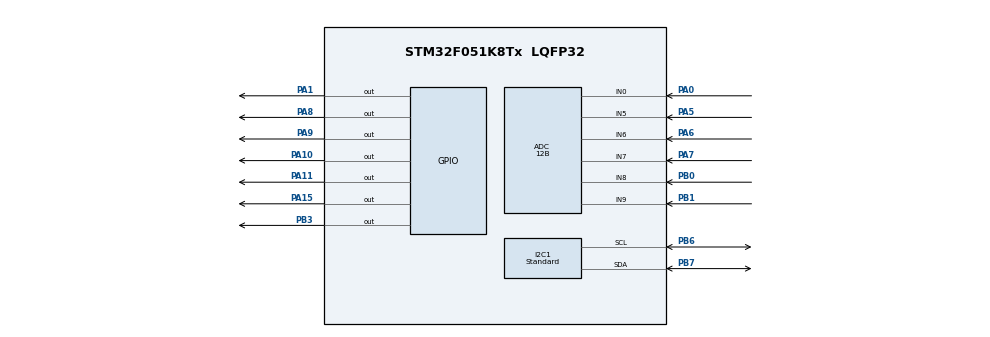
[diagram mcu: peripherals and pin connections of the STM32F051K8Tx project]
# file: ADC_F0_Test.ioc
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ADC.ClockPrescaler=ADC_CLOCK_SYNC_PCLK_DIV2
ADC.ContinuousConvMode=DISABLE
ADC.DMAContinuousRequests=DISABLE
ADC.DataAlign=ADC_DATAALIGN_RIGHT
ADC.DiscontinuousConvMode=DISABLE
ADC.EOCSelection=ADC_EOC_SINGLE_CONV
ADC.EnableAnalogWatchDog=false
ADC.ExternalTrigConvEdge=ADC_EXTERNALTRIGCONVEDGE_NONE
ADC.LowPowerAutoPowerOff=DISABLE
ADC.LowPowerAutoWait=DISABLE
ADC.Overrun=ADC_OVR_DATA_PRESERVED
ADC.Resolution=ADC_RESOLUTION_12B
ADC.SamplingTime=ADC_SAMPLETIME_41CYCLES_5
ADC.ScanConvMode=ADC_SCAN_DIRECTION_FORWARD
I2C1.I2C_Speed_Mode=I2C_Standard
I2C1.Timing=0x2000090E
Mcu.Family=STM32F0
Mcu.Name=STM32F051K8Tx
Mcu.Package=LQFP32
NVIC.I2C1_IRQn=true\:0\:0\:false\:false\:true
PA0.Mode=IN0
PA0.Signal=ADC_IN0
PA1.Signal=GPIO_Output
PA10.Signal=GPIO_Output
PA11.Signal=GPIO_Output
PA15.Signal=GPIO_Output
PA5.Mode=IN5
PA5.Signal=ADC_IN5
PA6.Mode=IN6
PA6.Signal=ADC_IN6
PA7.Mode=IN7
PA7.Signal=ADC_IN7
PA8.Signal=GPIO_Output
PA9.Signal=GPIO_Output
PB0.Mode=IN8
PB0.Signal=ADC_IN8
PB1.Mode=IN9
PB1.Signal=ADC_IN9
PB3.Signal=GPIO_Output
PB6.Mode=I2C
PB6.Signal=I2C1_SCL
PB7.Mode=I2C
PB7.Signal=I2C1_SDA
ProjectManager.HeapSize=0x200
ProjectManager.StackSize=0x400
ProjectManager.TargetToolchain=MDK-ARM V5
board=ADC_F0_Test

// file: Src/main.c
/**
  ******************************************************************************
  * File Name          : main.c
  * Description        : Main program body
  ******************************************************************************
  *
  * COPYRIGHT(c) 2017 STMicroelectronics
  *
  * Redistribution and use in source and binary forms, with or without modification,
  * are permitted provided that the following conditions are met:
  *   1. Redistributions of source code must retain the above copyright notice,
  *      this list of conditions and the following disclaimer.
  *   2. Redistributions in binary form must reproduce the above copyright notice,
  *      this list of conditions and the following disclaimer in the documentation
  *      and/or other materials provided with the distribution.
  *   3. Neither the name of STMicroelectronics nor the names of its contributors
  *      may be used to endorse or promote products derived from this software
  *      without specific prior written permission.
  *
  * THIS SOFTWARE IS PROVIDED BY THE COPYRIGHT HOLDERS AND CONTRIBUTORS "AS IS"
  * AND ANY EXPRESS OR IMPLIED WARRANTIES, INCLUDING, BUT NOT LIMITED TO, THE
  * IMPLIED WARRANTIES OF MERCHANTABILITY AND FITNESS FOR A PARTICULAR PURPOSE ARE
  * DISCLAIMED. IN NO EVENT SHALL THE COPYRIGHT HOLDER OR CONTRIBUTORS BE LIABLE
  * FOR ANY DIRECT, INDIRECT, INCIDENTAL, SPECIAL, EXEMPLARY, OR CONSEQUENTIAL
  * DAMAGES (INCLUDING, BUT NOT LIMITED TO, PROCUREMENT OF SUBSTITUTE GOODS OR
  * SERVICES; LOSS OF USE, DATA, OR PROFITS; OR BUSINESS INTERRUPTION) HOWEVER
  * CAUSED AND ON ANY THEORY OF LIABILITY, WHETHER IN CONTRACT, STRICT LIABILITY,
  * OR TORT (INCLUDING NEGLIGENCE OR OTHERWISE) ARISING IN ANY WAY OUT OF THE USE
  * OF THIS SOFTWARE, EVEN IF ADVISED OF THE POSSIBILITY OF SUCH DAMAGE.
  *
  ******************************************************************************
  */
#include "main.h"
#include "stm32f0xx_hal.h"

ADC_HandleTypeDef hadc;

I2C_HandleTypeDef hi2c1;

/* USER CODE BEGIN PV */
/* Private variables ---------------------------------------------------------*/
uint8_t data[12];
uint16_t data2[6];
uint8_t most_sig,least_sig;
int i = 0;
int flag = 0;
/* USER CODE END PV */

void SystemClock_Config(void);
void Error_Handler(void);
static void MX_GPIO_Init(void);
static void MX_I2C1_Init(void);
static void MX_ADC_Init(void);

/* USER CODE BEGIN PFP */
/* Private function prototypes -----------------------------------------------*/

/* USER CODE END PFP */

/* USER CODE BEGIN 0 */

//Read 6 ADC values that are 12 bit
void Read_ADC(uint16_t *data2, ADC_HandleTypeDef* hadc){
  HAL_ADC_Start(hadc);
		while(flag == 0){

			if(__HAL_ADC_GET_FLAG(hadc, ADC_FLAG_EOC))
			{
				data2[i] = HAL_ADC_GetValue(hadc);
				if(i == 5){
					i = 0;
					flag = 1;
					HAL_ADC_Stop(hadc);
				}
				else { i++;}
			}
		}

		flag = 0;

}

//Convert 12 bit array into 8 bit array to send I2C
void array_transfer(uint8_t *data, uint16_t *data2){
    int a = 0;
		for(int q=0;q<=6;q++){
			most_sig = data2[q] >> 8;
			least_sig = data2[q];

			data[a] = most_sig;
			data[a+1] = least_sig;
			a = a+2;
		}
}

void motor_direction(uint8_t direction){
    if(direction == 1)
    {
        //Motor moves forward
        //Motor PWM Bank A
    		HAL_GPIO_WritePin(GPIOA, GPIO_PIN_8,GPIO_PIN_SET);
    		HAL_GPIO_WritePin(GPIOA, GPIO_PIN_9,GPIO_PIN_RESET);
    }
    else if (direction == 2)
    {
        //Motor Moves backwards
        //Motor PWM Bank A
    		HAL_GPIO_WritePin(GPIOA, GPIO_PIN_8,GPIO_PIN_RESET);
    		HAL_GPIO_WritePin(GPIOA, GPIO_PIN_9,GPIO_PIN_SET);
    }
    else
    {
        //Motor does not move and is turned off
        //Motor PWM Bank A
    		HAL_GPIO_WritePin(GPIOA, GPIO_PIN_8,GPIO_PIN_RESET);
    		HAL_GPIO_WritePin(GPIOA, GPIO_PIN_9,GPIO_PIN_RESET);
    }
}
/* USER CODE END 0 */

int main(void)
{

  /* USER CODE BEGIN 1 */
	uint8_t ADC_buffer[6];
  /* USER CODE END 1 */

  /* MCU Configuration----------------------------------------------------------*/

  /* Reset of all peripherals, Initializes the Flash interface and the Systick. */
  HAL_Init();

  /* Configure the system clock */
  SystemClock_Config();

  /* Initialize all configured peripherals */
  MX_GPIO_Init();
  MX_I2C1_Init();
  MX_ADC_Init();

  /* Infinite loop */
  while (1)
  {

  /* USER CODE BEGIN 3 */

		//HAL_GPIO_TogglePin(GPIOC, GPIO_PIN_9);
		//HAL_GPIO_WritePin(GPIOC, GPIO_PIN_9,GPIO_PIN_RESET);

		//HAL_I2C_Slave_Receive(hi2c1, uint8_t *pData, uint16_t Size, uint32_t Timeout)
		//HAL_I2C_Master_Transmit(I2C_HandleTypeDef *hi2c, uint16_t DevAddress, uint8_t *pData, uint16_t Size, uint32_t Timeout)

		//nReset Active Low
		HAL_GPIO_WritePin(GPIOB, GPIO_PIN_3,GPIO_PIN_SET);
		//nsleep Logic High for non sleep
		HAL_GPIO_WritePin(GPIOA, GPIO_PIN_15,GPIO_PIN_SET);
		//Decay High for fast
		HAL_GPIO_WritePin(GPIOA, GPIO_PIN_1,GPIO_PIN_SET);
		//Motor PWM Bank B
		HAL_GPIO_WritePin(GPIOA, GPIO_PIN_10,GPIO_PIN_RESET);
		HAL_GPIO_WritePin(GPIOA, GPIO_PIN_11,GPIO_PIN_SET);

		Read_ADC(data2,&hadc);
		array_transfer(data,data2);

		if(data2[5] > 2050)
		{motor_direction(1);}
		else if(data2[5] < 1950)
		{motor_direction(2);}
		else{motor_direction(0);}

		while (HAL_I2C_GetState(&hi2c1) != HAL_I2C_STATE_READY){ Error_Handler(); }

 	  while(HAL_I2C_Master_Transmit(&hi2c1, 24, data, 12, 1000) != HAL_OK){}

  }
  /* USER CODE END 3 */
}

/** System Clock Configuration
*/
void SystemClock_Config(void)
{

  RCC_OscInitTypeDef RCC_OscInitStruct;
  RCC_ClkInitTypeDef RCC_ClkInitStruct;
  RCC_PeriphCLKInitTypeDef PeriphClkInit;

    /**Initializes the CPU, AHB and APB busses clocks
    */
  RCC_OscInitStruct.OscillatorType = RCC_OSCILLATORTYPE_HSI;
  RCC_OscInitStruct.HSIState = RCC_HSI_ON;
  RCC_OscInitStruct.HSICalibrationValue = 16;
  RCC_OscInitStruct.PLL.PLLState = RCC_PLL_NONE;
  if (HAL_RCC_OscConfig(&RCC_OscInitStruct) != HAL_OK)
  {
    Error_Handler();
  }

    /**Initializes the CPU, AHB and APB busses clocks
    */
  RCC_ClkInitStruct.ClockType = RCC_CLOCKTYPE_HCLK|RCC_CLOCKTYPE_SYSCLK
                              |RCC_CLOCKTYPE_PCLK1;
  RCC_ClkInitStruct.SYSCLKSource = RCC_SYSCLKSOURCE_HSI;
  RCC_ClkInitStruct.AHBCLKDivider = RCC_SYSCLK_DIV1;
  RCC_ClkInitStruct.APB1CLKDivider = RCC_HCLK_DIV1;

  if (HAL_RCC_ClockConfig(&RCC_ClkInitStruct, FLASH_LATENCY_0) != HAL_OK)
  {
    Error_Handler();
  }

  PeriphClkInit.PeriphClockSelection = RCC_PERIPHCLK_I2C1;
  PeriphClkInit.I2c1ClockSelection = RCC_I2C1CLKSOURCE_HSI;
  if (HAL_RCCEx_PeriphCLKConfig(&PeriphClkInit) != HAL_OK)
  {
    Error_Handler();
  }

    /**Configure the Systick interrupt time
    */
  HAL_SYSTICK_Config(HAL_RCC_GetHCLKFreq()/1000);

    /**Configure the Systick
    */
  HAL_SYSTICK_CLKSourceConfig(SYSTICK_CLKSOURCE_HCLK);

  /* SysTick_IRQn interrupt configuration */
  HAL_NVIC_SetPriority(SysTick_IRQn, 0, 0);
}

/* ADC init function */
static void MX_ADC_Init(void)
{

  ADC_ChannelConfTypeDef sConfig;

    /**Configure the global features of the ADC (Clock, Resolution, Data Alignment and number of conversion)
    */
  hadc.Instance = ADC1;
  hadc.Init.ClockPrescaler = ADC_CLOCK_SYNC_PCLK_DIV2;
  hadc.Init.Resolution = ADC_RESOLUTION_12B;
  hadc.Init.DataAlign = ADC_DATAALIGN_RIGHT;
  hadc.Init.ScanConvMode = ADC_SCAN_DIRECTION_FORWARD;
  hadc.Init.EOCSelection = ADC_EOC_SINGLE_CONV;
  hadc.Init.LowPowerAutoWait = DISABLE;
  hadc.Init.LowPowerAutoPowerOff = DISABLE;
  hadc.Init.ContinuousConvMode = DISABLE;
  hadc.Init.DiscontinuousConvMode = DISABLE;
  hadc.Init.ExternalTrigConvEdge = ADC_EXTERNALTRIGCONVEDGE_NONE;
  hadc.Init.DMAContinuousRequests = DISABLE;
  hadc.Init.Overrun = ADC_OVR_DATA_PRESERVED;
  if (HAL_ADC_Init(&hadc) != HAL_OK)
  {
    Error_Handler();
  }

    /**Configure for the selected ADC regular channel to be converted.
    */
  sConfig.Channel = ADC_CHANNEL_0;
  sConfig.Rank = ADC_RANK_CHANNEL_NUMBER;
  sConfig.SamplingTime = ADC_SAMPLETIME_41CYCLES_5;
  if (HAL_ADC_ConfigChannel(&hadc, &sConfig) != HAL_OK)
  {
    Error_Handler();
  }

    /**Configure for the selected ADC regular channel to be converted.
    */
  sConfig.Channel = ADC_CHANNEL_5;
  if (HAL_ADC_ConfigChannel(&hadc, &sConfig) != HAL_OK)
  {
    Error_Handler();
  }

    /**Configure for the selected ADC regular channel to be converted.
    */
  sConfig.Channel = ADC_CHANNEL_6;
  if (HAL_ADC_ConfigChannel(&hadc, &sConfig) != HAL_OK)
  {
    Error_Handler();
  }

    /**Configure for the selected ADC regular channel to be converted.
    */
  sConfig.Channel = ADC_CHANNEL_7;
  if (HAL_ADC_ConfigChannel(&hadc, &sConfig) != HAL_OK)
  {
    Error_Handler();
  }

    /**Configure for the selected ADC regular channel to be converted.
    */
  sConfig.Channel = ADC_CHANNEL_8;
  if (HAL_ADC_ConfigChannel(&hadc, &sConfig) != HAL_OK)
  {
    Error_Handler();
  }

    /**Configure for the selected ADC regular channel to be converted.
    */
  sConfig.Channel = ADC_CHANNEL_9;
  if (HAL_ADC_ConfigChannel(&hadc, &sConfig) != HAL_OK)
  {
    Error_Handler();
  }

}

/* I2C1 init function */
static void MX_I2C1_Init(void)
{

  hi2c1.Instance = I2C1;
  hi2c1.Init.Timing = 0x2000090E;
  hi2c1.Init.OwnAddress1 = 0;
  hi2c1.Init.AddressingMode = I2C_ADDRESSINGMODE_7BIT;
  hi2c1.Init.DualAddressMode = I2C_DUALADDRESS_DISABLE;
  hi2c1.Init.OwnAddress2 = 0;
  hi2c1.Init.OwnAddress2Masks = I2C_OA2_NOMASK;
  hi2c1.Init.GeneralCallMode = I2C_GENERALCALL_DISABLE;
  hi2c1.Init.NoStretchMode = I2C_NOSTRETCH_DISABLE;
  if (HAL_I2C_Init(&hi2c1) != HAL_OK)
  {
    Error_Handler();
  }

    /**Configure Analogue filter
    */
  if (HAL_I2CEx_ConfigAnalogFilter(&hi2c1, I2C_ANALOGFILTER_ENABLE) != HAL_OK)
  {
    Error_Handler();
  }

}

/** Configure pins as
        * Analog
        * Input
        * Output
        * EVENT_OUT
        * EXTI
*/
static void MX_GPIO_Init(void)
{

  GPIO_InitTypeDef GPIO_InitStruct;

  /* GPIO Ports Clock Enable */
  __HAL_RCC_GPIOA_CLK_ENABLE();
  __HAL_RCC_GPIOB_CLK_ENABLE();

  /*Configure GPIO pin Output Level */
  HAL_GPIO_WritePin(GPIOA, GPIO_PIN_1|GPIO_PIN_8|GPIO_PIN_9|GPIO_PIN_10
                          |GPIO_PIN_11|GPIO_PIN_15, GPIO_PIN_RESET);

  /*Configure GPIO pin Output Level */
  HAL_GPIO_WritePin(GPIOB, GPIO_PIN_3, GPIO_PIN_RESET);

  /*Configure GPIO pins : PA1 PA8 PA9 PA10
                           PA11 PA15 */
  GPIO_InitStruct.Pin = GPIO_PIN_1|GPIO_PIN_8|GPIO_PIN_9|GPIO_PIN_10
                          |GPIO_PIN_11|GPIO_PIN_15;
  GPIO_InitStruct.Mode = GPIO_MODE_OUTPUT_PP;
  GPIO_InitStruct.Pull = GPIO_NOPULL;
  GPIO_InitStruct.Speed = GPIO_SPEED_FREQ_LOW;
  HAL_GPIO_Init(GPIOA, &GPIO_InitStruct);

  /*Configure GPIO pin : PB3 */
  GPIO_InitStruct.Pin = GPIO_PIN_3;
  GPIO_InitStruct.Mode = GPIO_MODE_OUTPUT_PP;
  GPIO_InitStruct.Pull = GPIO_NOPULL;
  GPIO_InitStruct.Speed = GPIO_SPEED_FREQ_LOW;
  HAL_GPIO_Init(GPIOB, &GPIO_InitStruct);

}

void Error_Handler(void)
{
  while(1)
  {
  }
}

/************************ (C) COPYRIGHT STMicroelectronics *****END OF FILE****/
